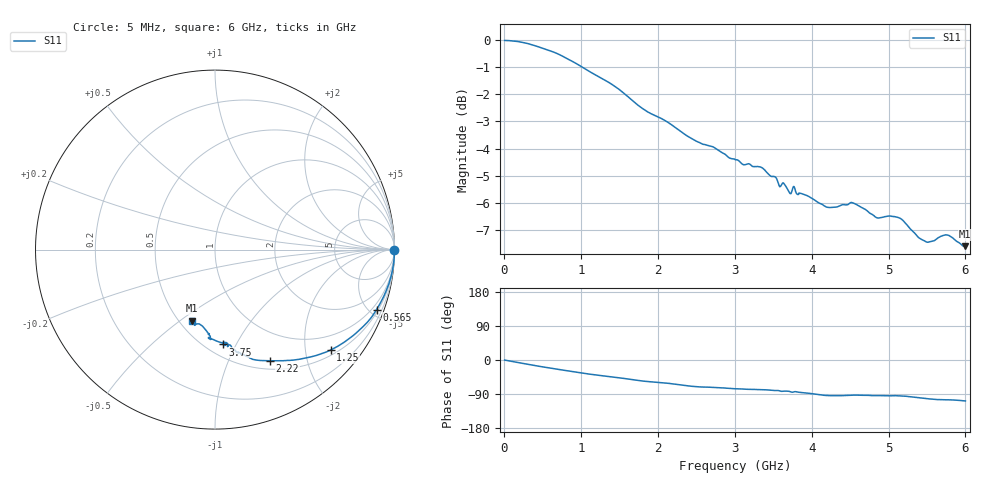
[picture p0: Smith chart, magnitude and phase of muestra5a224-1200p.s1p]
# Hz S RI R 50.000000
! Metas.Vna.Tools, 3.0.9519.15400
! Metas.Vna.Data, 3.0.9519.15360
! Created: UTC 2026.10.24 15:15:30
! FREQ  re:S1,1  im:S1,1
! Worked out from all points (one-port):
!   1200 points, 5 MHz to 6 GHz, reference 50 ohm
!   lowest |S11| = -7.6 dB at 5.99 GHz (marker M1), VSWR 2.43, Z = 28.9 - j27.7 ohm
!   |S11| at or under -10 dB: nowhere
!   S11 on the Smith chart (normalised r, x): 5 MHz: open; 565 MHz: 0.64, -5.50; 1.25 GHz: 0.62, -2.55; 2.22 GHz: 0.60, -1.43; 3.75 GHz: 0.60, -0.89; 6 GHz: 0.58, -0.55
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5000000  0.9999 -0.00341
2.55e8  0.9773 -0.1626
5.65e8  0.9006 -0.334
7.55e8  0.8384 -0.4157
1.03e9  0.7298 -0.5091
1.25e9  0.6446 -0.5594
1.505e9  0.5505 -0.5936
1.795e9  0.4256 -0.6163
2.22e9  0.3062 -0.6195
2.255e9  0.293 -0.6194
2.515e9  0.2156 -0.6126
2.755e9  0.1903 -0.601
3.005e9  0.1447 -0.5838
3.39e9  0.1146 -0.5641
3.705e9  0.0664 -0.52
3.75e9  0.0459 -0.5284
3.755e9  0.047 -0.5312
3.805e9  0.0533 -0.5176
4.19e9  -0.031 -0.4907
4.35e9  -0.037 -0.4917
4.505e9  -0.0269 -0.5002
4.85e9  -0.0316 -0.4684
5.13e9  -0.036 -0.4687
5.255e9  -0.0493 -0.4501
5.495e9  -0.0868 -0.4146
5.76e9  -0.113 -0.4217
5.99e9  -0.128 -0.396
6e9  -0.1292 -0.3959
